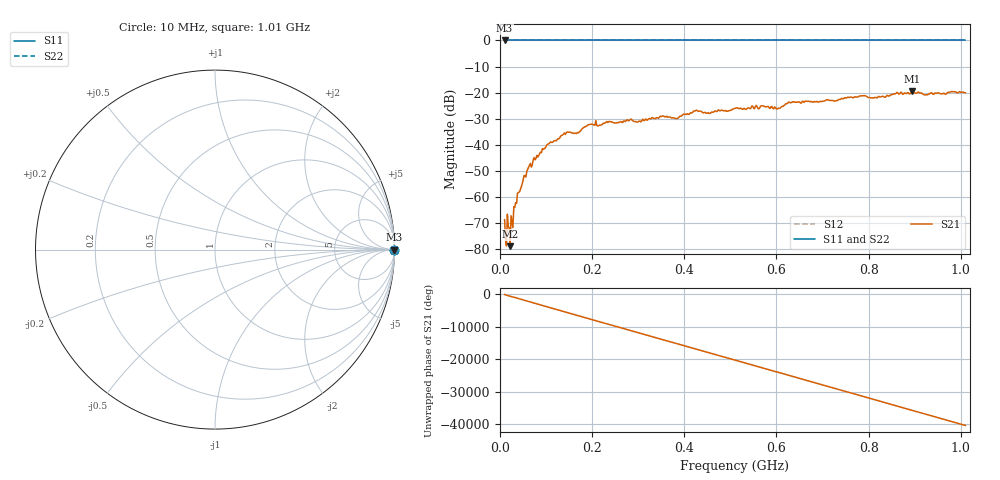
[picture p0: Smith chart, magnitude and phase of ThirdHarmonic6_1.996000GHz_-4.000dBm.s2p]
! 8/16/2025 11:58:58 PM
! C:\ANRITSUVNA\TEMP\TEMP.S2P
! CHANNEL.1
! TR.MEASUREMENT
! RAW.DATA
! RF.CORRECTION.OFF
! AVERAGING.OFF
! IF.BANDWIDTH: 5KHZ
! SWEEPTYPE:  FREQ.SWEEP(Linear)
! Reference Plane Port Info
! PORT:  PORT1  PORT2
! DISTANCE:  0  m  0  m
! TIME:  0  s  0  s
! PHASE.OFFSET:  0  deg.  0  deg.
! LOSS:  0  dB  0  dB
! REF.LOSS:  0  dB  0  dB
! REF.FREQ:  0  Hz  0  Hz
! Power Info
! POWER:  -20  dBm  -20  dBm
! EFF.POWER:  -20  dBm  -20  dBm
! SOURCE.ATTEN:  0  dB  0  dB
! TEST.ATTEN:  0  dB  0  dB
# GHZ S RI R 50.0
! FREQ.GHZ  S11RE  S11IM  S21RE  S21IM  S12RE  S12IM  S22RE  S22IM
!; PortSelection: Port_12
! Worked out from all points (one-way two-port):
!   501 points, 10 MHz to 1.01 GHz, reference 50 ohm
!   highest |S21| = -19.50 dB at 894 MHz (marker M1); lowest = -78.8 dB at 22 MHz (marker M2)
!   lowest |S11| = 0.0 dB at 10 MHz (marker M3)
!   |S11| at or under -10 dB: nowhere
!   |S22| runs from 0.0 to 0.0 dB; largest |S21 - S12| = 1.1
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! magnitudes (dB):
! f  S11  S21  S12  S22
! 10 MHz  0.0  -68.7  0.0  0.0
! 18 MHz  0.0  -71.4  0.0  0.0
! 20 MHz  0.0  -71.8  0.0  0.0
! 22 MHz  0.0  -78.8  0.0  0.0
! 24 MHz  0.0  -67.2  0.0  0.0
! 34 MHz  0.0  -62.2  0.0  0.0
! 50 MHz  0.0  -53.7  0.0  0.0
! 76 MHz  0.0  -45.7  0.0  0.0
! 106 MHz  0.0  -39.6  0.0  0.0
! 136 MHz  0.0  -36.2  0.0  0.0
! 178 MHz  0.0  -33.9  0.0  0.0
! 196 MHz  0.0  -32.1  0.0  0.0
! 344 MHz  0.0  -29.8  0.0  0.0
! 384 MHz  0.0  -29.9  0.0  0.0
! 424 MHz  0.0  -27.0  0.0  0.0
! 510 MHz  0.0  -26.1  0.0  0.0
! 604 MHz  0.0  -25.9  0.0  0.0
! 630 MHz  0.0  -23.9  0.0  0.0
! 678 MHz  0.0  -23.5  0.0  0.0
! 844 MHz  0.0  -21.3  0.0  0.0
! 894 MHz  0.0  -19.5  0.0  0.0
! 1.01 GHz  0.0  -20.1  0.0  0.0
